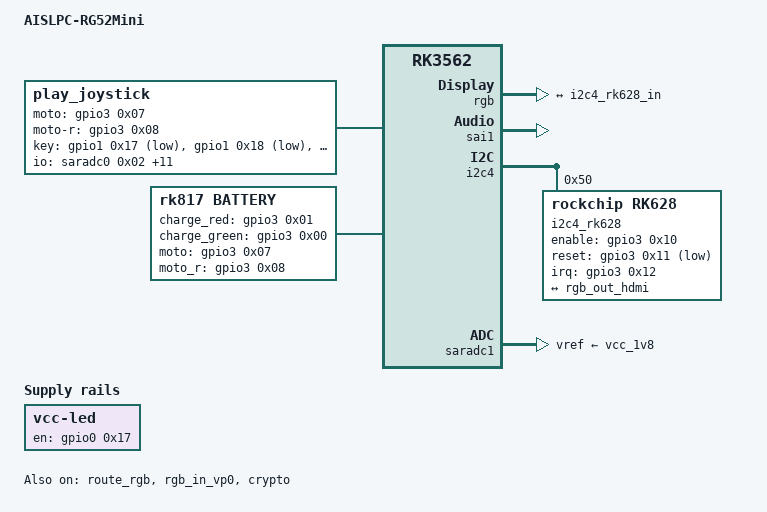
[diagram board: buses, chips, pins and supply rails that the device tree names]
// SPDX-License-Identifier: (GPL-2.0+ OR MIT)
/*
 * Copyright (c) 2022 Rockchip Electronics Co., Ltd.
 *
 */

#include "rk3562-evb1-lp4x-v10.dtsi"
#include "rk3562-linux.dtsi"
#include "rk3562-rk817.dtsi"

/ {
	model = "AISLPC-RG52Mini";
	compatible = "aislpc,rg52mini", "rockchip,rk3562";
};

&csi2_dphy0 {
	status = "disabled";

	ports {
		port@0 {
			/delete-node/ endpoint@1;
			/delete-node/ endpoint@2;
		};
	};
};

&route_rgb {
	status = "okay";
};

&mipi0_csi2 {
	status = "disabled";
};

&rkcif_mipi_lvds {
	status = "disabled";
};

&rkcif_mipi_lvds_sditf {
	status = "disabled";
};

&rkisp_vir0 {
	status = "disabled";
};

&usbdrd_dwc3 {
	extcon = <&u2phy>;
	/delete-property/ usb-role-switch;
	/delete-node/ port;
};

&usb_host0_ehci {
	status = "disabled";
};

&usb_host0_ohci {
	status = "disabled";
};

&rgb {
	status = "okay";

	ports {
		port@1 {
			reg = <0x01>;

			rgb_out_hdmi: endpoint {
				remote-endpoint = <&i2c4_rk628_in>;
			};
		};
	};
};

&rgb_in_vp0 {
	status = "okay";
};

&i2c0 {
	/delete-node/ fusb302@22;
};

&sdmmc1 {
	supports-rk912;
	supports-sdio;
	broken-cd;
};

&uart1 {
	pinctrl-0 = <&uart1m0_xfer>;
};

&pinctrl_rk8xx {
	rk817_ts_gpio1: rk817_ts_gpio1 {
		pins = "gpio_ts";
		function = "pin_fun1";
	};

	rk817_pin_ts: rk817_pin_ts {
		pins = "gpio_ts";
		function = "pin_fun0";
	};
};

&pinctrl {
	headphone {
		hp_det: hp-det {
			rockchip,pins = <0 0x07 0x00 &pcfg_pull_none>;
		};
	};

	hp2extspeaker {
		hp_con: hp-con {
			rockchip,pins = <3 0x13 0x00 &pcfg_pull_none>;
		};
	};

	charge-led {
		charge_led_gpio: charge-led-gpio {
			rockchip,pins = <3 0x00 0x00 &pcfg_pull_none>,
					<3 0x01 0x00 &pcfg_pull_none>;
		};
	};

	rk628 {
		rk628_reset: rk628-reset {
			rockchip,pins = <3 0x11 0x00 &pcfg_pull_none>;
		};

		refclk_pins: refclk-pins {
			rockchip,pins = <0 0x00 0x01 &pcfg_pull_none>;
		};
	};

	vcc3v3_lcd_n {
		lcd_pwren_h: lcd-pwren-h {
			rockchip,pins = <0 0x08 0x00 &pcfg_pull_none>;
		};
	};

	wireless-wlan {
		wifi_host_wake_irq: wifi-host-wake-irq {
			rockchip,pins = <0 0x0c 0x00 &pcfg_pull_none>;
		};

		wifi_poweren_gpio: wifi-poweren-gpio {
			rockchip,pins = <0 0x06 0x00 &pcfg_pull_none>;
		};
	};

	vcc-led {
		led_en_gpio: led-en-gpio {
			rockchip,pins = <0 0x17 0x00 &pcfg_pull_none>;
		};
	};

	buttons {
		gpio_key_pin: gpio-key-pin {
			rockchip,pins = <1 0x17 0x00 &pcfg_pull_none>,
					<1 0x18 0x00 &pcfg_pull_none>,
					<1 0x1d 0x00 &pcfg_pull_none>,
					<1 0x1e 0x00 &pcfg_pull_none>,
					<1 0x1b 0x00 &pcfg_pull_none>,
					<1 0x1f 0x00 &pcfg_pull_none>,
					<1 0x1c 0x00 &pcfg_pull_none>,
					<2 0x00 0x00 &pcfg_pull_none>,
					<0 0x15 0x00 &pcfg_pull_none>,
					<0 0x16 0x00 &pcfg_pull_none>;
		};

		moto_gpio: moto-gpio {
			rockchip,pins = <3 0x07 0x00 &pcfg_pull_none>,
					<3 0x08 0x00 &pcfg_pull_none>;
		};
	};
};

&rk817_codec {
	pinctrl-0 = <&i2s0m0_mclk &hp_con>;
	use-ext-amplifier;
	spk-mute-delay-ms = <0x64>;
	spk-ctl-gpios = <&gpio3 0x13 0x00>;
};

&rk817 {
	battery {
		compatible = "rk817,battery";
		ocv_table = <0xdac 0xdd0 0xdf5 0xe15 0xe2f 0xe4b 0xe6d 0xe97 0xec1 0xee8 0xf10 0xf30 0xf51 0xf77 0xf9d 0xfb6 0xfd0 0xfed 0x1000 0x1019 0x1058>;
		design_capacity = <0x1222>;
		design_qmax = <0x13f2>;
		bat_res = <0x50>;
		sleep_enter_current = <0x12c>;
		sleep_exit_current = <0x12c>;
		sleep_filter_current = <0x64>;
		power_off_thresd = <0xaf0>;
		zero_algorithm_vol = <0xf0a>;
		max_soc_offset = <0x3c>;
		monitor_sec = <0x05>;
		sample_res = <0x0a>;
		virtual_power = <0x00>;
		pinctrl-names = "default";
		pinctrl-0 = <&charge_led_gpio>;
		charge_red_gpio = <&gpio3 0x01 0x00>;
		charge_green_gpio = <&gpio3 0x00 0x00>;
		moto_gpio = <&gpio3 0x07 0x00>;
		moto_r_gpio = <&gpio3 0x08 0x00>;
	};

	charger {
		compatible = "rk817,charger";
		min_input_voltage = <0x1194>;
		max_input_current = <0xbb8>;
		max_chrg_current = <0x7d0>;
		max_chrg_voltage = <0x10cc>;
		chrg_term_mode = <0x00>;
		chrg_finish_cur = <0x12c>;
		virtual_power = <0x00>;
		dc_det_adc = <0x00>;
		otg5v_suspend_enable = <0x01>;
		extcon = <&u2phy>;
		gate_function_disable = <0x01>;
	};
};

&pwm3 {
	status = "disabled";
};

&rknpu {
	status = "disabled";
};

&rknpu_mmu {
	status = "disabled";
};

&rkcif {
	status = "disabled";
};

&rkcif_mmu {
	status = "disabled";
};

&rkisp {
	status = "disabled";
};

&rkisp_mmu {
	status = "disabled";
};

&pcie2x1 {
	status = "disabled";
};

&pwm6 {
	status = "disabled";
};

&u2phy_host {
	status = "disabled";
	/delete-property/ phy-supply;
};

&sai1 {
	status = "okay";
	pinctrl-0 = <&i2s1m1_mclk &i2s1m1_sclk &i2s1m1_lrck &i2s1m1_sdo0>;
};

&crypto {
	status = "okay";
};

&i2c2 {
	/delete-node/ gt1x@14;
	/delete-node/ hynitron@5a;
};

&i2c4 {
	/delete-node/ dw9714@c;
	/delete-node/ gc8034@37;
	/delete-node/ ov5695@36;

	i2c4_rk628: rk628@50 {
		status = "okay";
		compatible = "rockchip,rk628";
		reg = <0x50>;
		#sound-dai-cells = <0x00>;
		interrupt-parent = <&gpio3>;
		interrupts = <0x12 0x04>;
		enable-gpios = <&gpio3 0x10 0x00>;
		reset-gpios = <&gpio3 0x11 0x01>;
		pinctrl-names = "default";
		pinctrl-0 = <&rk628_reset &refclk_pins>;
		rk628-rgb-in;
		rk628-hdmi-out;

		port {
			i2c4_rk628_in: endpoint {
				remote-endpoint = <&rgb_out_hdmi>;
			};
		};
	};
};

&i2c5 {
	status = "disabled";
};

&gmac0 {
	status = "disabled";
};

&saradc1 {
	status = "okay";
	vref-supply = <&vcc_1v8>;
};

&dsi_panel {
	reset-delay-ms = <0x14>;
	enable-delay-ms = <0x78>;
	prepare-delay-ms = <0x14>;
	unprepare-delay-ms = <0x14>;
	disable-delay-ms = <0x14>;
	init-delay-ms = <0x14>;
	panel-init-sequence = [15 00 03 e0 ab ba 15 00 03 e1 ba ab 39 00 05 b1 10 01 47 ff 39 00 07 b2 0a 09 04 50 50 14 39 00 04 b3 56 52 00 39 00 04 b4 33 60 04 39 00 08 b6 b0 00 00 10 00 10 00 39 00 06 b8 05 12 29 49 48 39 00 27 b9 7c 70 65 5b 5b 4e 54 3d 56 53 52 6e 5a 60 4f 4b 3a 29 06 7c 6f 65 5b 5b 4e 54 3d 56 53 52 6e 5a 60 4f 4b 3a 29 06 39 00 11 c0 54 32 23 45 44 44 44 44 40 04 40 04 0f 00 00 c1 39 00 0b c1 33 94 02 87 80 04 92 04 54 00 39 00 0d c2 73 09 08 89 08 11 22 20 44 bb 18 00 39 00 17 c3 82 4a 08 23 00 04 06 01 0c 0e 10 12 02 02 02 02 02 02 02 02 02 02 39 00 17 c4 02 0b 09 23 00 05 07 01 0d 0f 11 13 02 02 02 02 02 02 02 02 02 02 39 00 04 c5 83 94 0f 15 00 03 c6 4c 4c 39 00 07 c8 11 00 31 42 34 16 15 00 03 ca cb 43 39 00 09 cd 0e 64 64 20 14 6b 06 b3 39 00 05 d2 e3 2b 38 08 39 00 0c d4 00 01 00 0e 04 44 08 10 00 00 00 39 00 09 e6 80 01 ff ff ff ff ff ff 39 00 06 f0 12 03 20 00 ff 15 00 02 f3 00 05 78 01 11 05 1e 01 29];
	reset-gpios = <&gpio0 0x14 0x01>;
	rotation = <90>;
};

&dsi_timing0 {
	clock-frequency = <0x493e000>;
	hactive = <0x2d0>;
	vactive = <0x500>;
	hfront-porch = <0x64>;
	hsync-len = <0x21>;
	hback-porch = <0x64>;
	vfront-porch = <0x14>;
	vsync-len = <0x02>;
	vback-porch = <0x1e>;
};

&adc_keys {
	/delete-node/ menu-key;
	/delete-node/ back-key;
};

&spdif_out {
	status = "disabled";
};

&vcc3v3_lcd_n {
	/delete-property/ gpio;
	/delete-property/ enable-active-high;
	pinctrl-names = "default";
	pinctrl-0 = <&lcd_pwren_h>;
	gpios = <&gpio0 0x08 0x01>;
	enable-active-low;
};

&rk817_sound {
	hp-det-gpio = <&gpio0 0x07 0x00>;
	io-channels = <&saradc0 0x04>;
	io-channel-names = "adc-detect";
	keyup-threshold-microvolt = <0x1b7740>;
	poll-interval = <0x64>;

	play-pause-key {
		label = "playpause";
		linux,code = <0xa4>;
		press-threshold-microvolt = <0x7d0>;
	};
};

&vcc5v0_usb_host {
	status = "disabled";
	/delete-property/ gpio;
	/delete-property/ pinctrl-names;
	/delete-property/ pinctrl-0;
};

/ {
	rk628-sound {
		compatible = "simple-audio-card";
		simple-audio-card,format = "i2s";
		simple-audio-card,mclk-fs = <0x80>;
		simple-audio-card,name = "rockchip,hdmi-rk628";
		status = "okay";

		simple-audio-card,cpu {
			sound-dai = <&sai1>;
		};

		simple-audio-card,codec {
			sound-dai = <&i2c4_rk628>;
		};
	};

	led-vcc {
		compatible = "regulator-fixed";
		regulator-name = "vcc-led";
		pinctrl-names = "default";
		pinctrl-0 = <&led_en_gpio>;
		gpios = <&gpio0 0x17 0x00>;
		enable-active-high;
	};

	wireless-wlan {
		wifi_chip_type = "rk915";
		pinctrl-0 = <&wifi_host_wake_irq &wifi_poweren_gpio>;
		WIFI,host_wake-gpios = <&gpio0 0x0c 0x00>;
		WIFI,poweren-gpios = <&gpio0 0x06 0x01>;
		sdio_vref = <0x708>;
	};

	wireless-bluetooth {
		status = "disabled";
	};

	spdif-sound {
		status = "disabled";
	};

	/delete-node/ vcc-mipicsi0-regulator;

	play_joystick {
		compatible = "play_joystick";
		io-channels = <&saradc0 0x02 &saradc0 0x03 &saradc0 0x05 &saradc0 0x06 &saradc1 0x01 &saradc1 0x04 &saradc1 0x00 &saradc1 0x02 &saradc1 0x03 &saradc1 0x05 &saradc1 0x06 &saradc1 0x07>;
		io-channel-names = "button0\0button1\0button2\0button3\0l2-abs\0r2-abs\0left-key\0right-key\0down-key\0b-key\0x-key\0y-key";
		joysticks_numbers = <0x02>;
		l_x_swap;
		l_y_swap;
		axis-min-value-mv = <0xfa>;
		axis-max-value-mv = <0x60e>;
		axis-dead-zone-l = <0x316>;
		axis-dead-zone-h = <0x3f2>;
		axis-division-value = <0x3c>;
		keyup-threshold-microvolt = <0x1b7740>;
		poll-interval = <0x10>;
		debounce-interval = <0x64>;
		pinctrl-names = "default";
		pinctrl-0 = <&gpio_key_pin &moto_gpio>;
		moto-gpio = <&gpio3 0x07 0x00>;
		moto-r-gpio = <&gpio3 0x08 0x00>;
		gpio-key-num = <0x0a>;
		key-gpios = <&gpio1 0x17 0x01 &gpio1 0x18 0x01 &gpio1 0x1d 0x01 &gpio1 0x1e 0x01 &gpio1 0x1b 0x01 &gpio1 0x1f 0x01 &gpio1 0x1c 0x01 &gpio2 0x00 0x01 &gpio0 0x15 0x01 &gpio0 0x16 0x01>;
		key-gpios-map = <0x136 0x220 0x137 0x130 0x13a 0x13b 0x66 0x1d0 0x13d 0x13e>;
		l2-r2-min-value-mv = <0x32>;
		l2-r2-max-value-mv = <0x320>;
		l2-r2-division-value-mv = <0x4b>;
		l2_r2_abs;

		left-key {
			label = "left-key";
			adc-chan = <0x00>;
			linux,code = <0x222>;
			press-threshold-microvolt = <0x13880>;
		};

		right-key {
			label = "right-key";
			adc-chan = <0x02>;
			linux,code = <0x223>;
			press-threshold-microvolt = <0x13880>;
		};

		down-key {
			label = "down-key";
			adc-chan = <0x03>;
			linux,code = <0x221>;
			press-threshold-microvolt = <0x13880>;
		};

		b-key {
			label = "b-key";
			adc-chan = <0x05>;
			linux,code = <0x131>;
			press-threshold-microvolt = <0x13880>;
		};

		x-key {
			label = "x-key";
			adc-chan = <0x06>;
			linux,code = <0x133>;
			press-threshold-microvolt = <0x13880>;
		};

		y-key {
			label = "y-key";
			adc-chan = <0x07>;
			linux,code = <0x134>;
			press-threshold-microvolt = <0x13880>;
		};
	};
};

&vdd_npu {
	status = "disabled";
};
